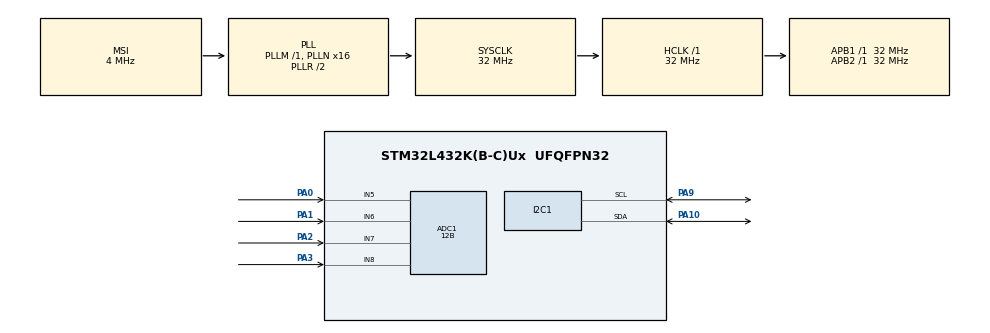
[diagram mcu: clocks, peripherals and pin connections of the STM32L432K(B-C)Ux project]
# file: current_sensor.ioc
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ADC1.Channel-10\#ChannelRegularConversion=ADC_CHANNEL_5
ADC1.Channel-11\#ChannelRegularConversion=ADC_CHANNEL_6
ADC1.Channel-12\#ChannelRegularConversion=ADC_CHANNEL_7
ADC1.Channel-13\#ChannelRegularConversion=ADC_CHANNEL_VREFINT
ADC1.ClockPrescaler=ADC_CLOCK_ASYNC_DIV1
ADC1.ContinuousConvMode=DISABLE
ADC1.DMAContinuousRequests=DISABLE
ADC1.DataAlign=ADC_DATAALIGN_RIGHT
ADC1.DiscontinuousConvMode=DISABLE
ADC1.EOCSelection=ADC_EOC_SINGLE_CONV
ADC1.EnableAnalogWatchDog1=false
ADC1.EnableAnalogWatchDog2=false
ADC1.EnableAnalogWatchDog3=false
ADC1.EnableInjectedConversion=DISABLE
ADC1.EnableRegularConversion=ENABLE
ADC1.ExternalTrigConv=ADC_SOFTWARE_START
ADC1.ExternalTrigConvEdge=ADC_EXTERNALTRIGCONVEDGE_NONE
ADC1.LowPowerAutoWait=DISABLE
ADC1.NbrOfConversion=4
ADC1.NbrOfConversionFlag=1
ADC1.OffsetNumber-10\#ChannelRegularConversion=ADC_OFFSET_NONE
ADC1.OffsetNumber-11\#ChannelRegularConversion=ADC_OFFSET_NONE
ADC1.OffsetNumber-12\#ChannelRegularConversion=ADC_OFFSET_NONE
ADC1.OffsetNumber-13\#ChannelRegularConversion=ADC_OFFSET_NONE
ADC1.Overrun=ADC_OVR_DATA_PRESERVED
ADC1.OversamplingMode=DISABLE
ADC1.Rank-10\#ChannelRegularConversion=1
ADC1.Rank-11\#ChannelRegularConversion=2
ADC1.Rank-12\#ChannelRegularConversion=3
ADC1.Rank-13\#ChannelRegularConversion=4
ADC1.Resolution=ADC_RESOLUTION_12B
ADC1.SamplingTime-10\#ChannelRegularConversion=ADC_SAMPLETIME_2CYCLES_5
ADC1.SamplingTime-11\#ChannelRegularConversion=ADC_SAMPLETIME_2CYCLES_5
ADC1.SamplingTime-12\#ChannelRegularConversion=ADC_SAMPLETIME_2CYCLES_5
ADC1.SamplingTime-13\#ChannelRegularConversion=ADC_SAMPLETIME_2CYCLES_5
ADC1.ScanConvMode=ADC_SCAN_ENABLE
ADC1.SingleDiff-12\#ChannelRegularConversion=ADC_DIFFERENTIAL_ENDED
ADC1.master=1
Dma.ADC1.0.Direction=DMA_PERIPH_TO_MEMORY
Dma.ADC1.0.Instance=DMA1_Channel1
Dma.ADC1.0.MemDataAlignment=DMA_MDATAALIGN_HALFWORD
Dma.ADC1.0.MemInc=DMA_MINC_ENABLE
Dma.ADC1.0.Mode=DMA_NORMAL
Dma.ADC1.0.PeriphDataAlignment=DMA_PDATAALIGN_HALFWORD
Dma.ADC1.0.PeriphInc=DMA_PINC_DISABLE
Dma.ADC1.0.Priority=DMA_PRIORITY_LOW
Dma.Request0=ADC1
I2C1.Timing=0x00707CBB
Mcu.Family=STM32L4
Mcu.Name=STM32L432K(B-C)Ux
Mcu.Package=UFQFPN32
NVIC.DMA1_Channel1_IRQn=true\:0\:0\:false\:false\:true\:false
NVIC.PriorityGroup=NVIC_PRIORITYGROUP_4
PA0.Signal=ADCx_IN5
PA1.Signal=ADCx_IN6
PA10.Mode=I2C
PA10.Signal=I2C1_SDA
PA13\ (JTMS-SWDIO).Mode=Serial_Wire
PA13\ (JTMS-SWDIO).Signal=SYS_JTMS-SWDIO
PA14\ (JTCK-SWCLK).Mode=Serial_Wire
PA14\ (JTCK-SWCLK).Signal=SYS_JTCK-SWCLK
PA2.Signal=ADCx_IN7
PA3.Signal=ADCx_IN8
PA9.Mode=I2C
PA9.Signal=I2C1_SCL
ProjectManager.HeapSize=0x200
ProjectManager.StackSize=0x400
ProjectManager.TargetToolchain=SW4STM32
RCC.ADCFreq_Value=32000000
RCC.AHBFreq_Value=32000000
RCC.APB1Freq_Value=32000000
RCC.APB1TimFreq_Value=32000000
RCC.APB2Freq_Value=32000000
RCC.APB2TimFreq_Value=32000000
RCC.CortexFreq_Value=32000000
RCC.HCLKFreq_Value=32000000
RCC.HSE_VALUE=8000000
RCC.HSI16_VALUE=16000000
RCC.HSI48_VALUE=48000000
RCC.HSI_VALUE=16000000
RCC.LSE_VALUE=32.768
RCC.MSI_VALUE=4000000
RCC.PLLMUL=RCC_PLLMUL_4
RCC.PLLN=16
RCC.PLLSAI1N=16
RCC.SYSCLKFreq_VALUE=32000000
RCC.SYSCLKSource=RCC_SYSCLKSOURCE_PLLCLK
RCC.USBFreq_Value=32000000
RCC.VCOOutputFreq_Value=64000000
SH.ADCx_IN5.0=ADC1_IN5,IN5-Single-Ended
SH.ADCx_IN6.0=ADC1_IN6,IN6-Single-Ended
SH.ADCx_IN7.0=ADC1_IN7,IN7-Differential
SH.ADCx_IN8.0=ADC1_IN8,IN7-Differential
VP_ADC1_Vref_Input.Mode=IN-Vrefint
board=NUCLEO-L432KC

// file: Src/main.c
/**
  ******************************************************************************
  * @file           : main.c
  * @brief          : Main program body
  ******************************************************************************
  ** This notice applies to any and all portions of this file
  * that are not between comment pairs USER CODE BEGIN and
  * USER CODE END. Other portions of this file, whether
  * inserted by the user or by software development tools
  * are owned by their respective copyright owners.
  *
  * COPYRIGHT(c) 2020 STMicroelectronics
  *
  * Redistribution and use in source and binary forms, with or without modification,
  * are permitted provided that the following conditions are met:
  *   1. Redistributions of source code must retain the above copyright notice,
  *      this list of conditions and the following disclaimer.
  *   2. Redistributions in binary form must reproduce the above copyright notice,
  *      this list of conditions and the following disclaimer in the documentation
  *      and/or other materials provided with the distribution.
  *   3. Neither the name of STMicroelectronics nor the names of its contributors
  *      may be used to endorse or promote products derived from this software
  *      without specific prior written permission.
  *
  * THIS SOFTWARE IS PROVIDED BY THE COPYRIGHT HOLDERS AND CONTRIBUTORS "AS IS"
  * AND ANY EXPRESS OR IMPLIED WARRANTIES, INCLUDING, BUT NOT LIMITED TO, THE
  * IMPLIED WARRANTIES OF MERCHANTABILITY AND FITNESS FOR A PARTICULAR PURPOSE ARE
  * DISCLAIMED. IN NO EVENT SHALL THE COPYRIGHT HOLDER OR CONTRIBUTORS BE LIABLE
  * FOR ANY DIRECT, INDIRECT, INCIDENTAL, SPECIAL, EXEMPLARY, OR CONSEQUENTIAL
  * DAMAGES (INCLUDING, BUT NOT LIMITED TO, PROCUREMENT OF SUBSTITUTE GOODS OR
  * SERVICES; LOSS OF USE, DATA, OR PROFITS; OR BUSINESS INTERRUPTION) HOWEVER
  * CAUSED AND ON ANY THEORY OF LIABILITY, WHETHER IN CONTRACT, STRICT LIABILITY,
  * OR TORT (INCLUDING NEGLIGENCE OR OTHERWISE) ARISING IN ANY WAY OUT OF THE USE
  * OF THIS SOFTWARE, EVEN IF ADVISED OF THE POSSIBILITY OF SUCH DAMAGE.
  *
  ******************************************************************************
  */
#include "main.h"
#include "stm32l4xx_hal.h"

/* USER CODE BEGIN Includes */
#include "I2C_lcd16x2.h"
#include "fft.h"
#include <math.h>
//#include "cnumbers.h"

#define PONTOS N

/* USER CODE END Includes */

ADC_HandleTypeDef hadc1;
DMA_HandleTypeDef hdma_adc1;

I2C_HandleTypeDef hi2c1;

/* USER CODE BEGIN PV */
/* Private variables ---------------------------------------------------------*/
uint8_t complete=0;

/* USER CODE END PV */

void SystemClock_Config(void);
static void MX_GPIO_Init(void);
static void MX_DMA_Init(void);
static void MX_I2C1_Init(void);
static void MX_ADC1_Init(void);

/* USER CODE BEGIN PFP */
/* Private function prototypes -----------------------------------------------*/

/* USER CODE END PFP */

/* USER CODE BEGIN 0 */
//extern void initialise_monitor_handles(void);

/* USER CODE END 0 */

int main(void)
{
  /* USER CODE BEGIN 1 */
	typedef struct
	{
		uint16_t value[4];
	}sample_group;

	char msg1[10], msg2[10], msg3[10];
	float tensao1=0, tensao2=0, distorcao=0, Vdd;
	float adc1[PONTOS], adc2[PONTOS], adc4[PONTOS];
	uint16_t *vrefint;
	complex *fourieradc1;
	sample_group sample[PONTOS];

	vrefint=(uint16_t*)0x1FFF75AA;

  /* USER CODE END 1 */

  /* MCU Configuration----------------------------------------------------------*/

  /* Reset of all peripherals, Initializes the Flash interface and the Systick. */
  HAL_Init();

  /* USER CODE BEGIN Init */
 // initialise_monitor_handles();

  /* USER CODE END Init */

  /* Configure the system clock */
  SystemClock_Config();

  /* Initialize all configured peripherals */
  MX_GPIO_Init();
  MX_DMA_Init();
  MX_I2C1_Init();
  MX_ADC1_Init();
  /* USER CODE BEGIN 2 */
  LCD1602_i2c_Init();
  //LCD1602_special_caracter_Init("ç", "ú", "á", "é", "í", "ã","õ","ô");
  LCD1602_noCursor();
  LCD1602_noBlink();

  /* USER CODE END 2 */

  /* Infinite loop */
  /* USER CODE BEGIN WHILE */
  while (1)
  {
	  tensao2=0;

	  /*Laço for responsável pela conversão analógico-digital na variável sample.valores*/
	  for(uint32_t i=0; i<PONTOS; i++)
	  {
		  HAL_ADC_Start_DMA(&hadc1, (uint32_t *)sample[i].value, 4);
		  /*for(uint32_t j=0; j<4; j++)
		  {
			  sample[4*i+j]=captura[j];
		  }*/
		  while(!complete);
		  complete=0;
	  }

	  /*Obtenção do maximo valor analógico do conversor analógico-digital. Serve como referência paras as conversões*/
	  Vdd=(float)3*(*vrefint)/sample[PONTOS-1].value[3];

	  /*Laços for responsáveis pela organização dos valores, do conversor analógico-digital, em vetores adcX e os converte para volts*/
	  for(uint32_t i=0; i<PONTOS; i++)
	  {
		  adc2[i]=Vdd*sample[i].value[1]/4095;
	  }
	  for(uint32_t i=0; i<PONTOS; i++)//Também retira o offset
	  {
		  adc1[i]=Vdd*sample[i].value[0]/4095-adc2[PONTOS-1];
	  }
	  for(uint32_t i=0; i<PONTOS; i++)
	  {
		  adc4[i]=Vdd*sample[i].value[3]/4095;
	  }

	  /*Calcula a transformada de fourier de tempo discreto do adc1*/
	  fourieradc1=fft(adc1);

	  /*Adequação, dos valores obtidos, para volts*/
	  /*
	  for(uint32_t i=1; i<PONTOS; i++)
	  {
		  if(adc1[i-1]==0 && adc1[i]!=0)
		  {
			  a=i;
		  }
		  else if(adc1[i-1]!=0 && adc1[i]==0)
		  {
			  b=i;
			  break;
		  }
	  }
	  */

	  tensao1=(fourieradc1+0)->mod;
	  for(uint8_t i=1; i<K; i++) //começa do 1 por que é apenas AC
	  {
		  tensao2=tensao2+pow((fourieradc1+i)->mod, 2);
	  }
	  tensao2=sqrt(tensao2);
	  distorcao=(fourieradc1+1)->mod/tensao2;

	  /*
	  for(uint32_t i=0; i<PONTOS; i++)
	  {
		  printf("%.2f\r", Vdd*adc1[i]/4095);
	  }
	  */

	  /*Exibição dos valores em tela de LCD*/
	  sprintf(msg1, "Im=%.1f", (tensao1/100/0.33)*1000);
	  sprintf(msg2, "Irms=%.1f", (tensao2/100/0.33)*1000);
	  sprintf(msg3, "Fd=%.2f", distorcao);
	  LCD1602_print(msg1);
	  LCD1602_setCursor(2, 1);
	  LCD1602_print(msg2);
	  LCD1602_setCursor(1, 9);
	  LCD1602_print(msg3);
	  LCD1602_setCursor(1, 1);

  /* USER CODE END WHILE */

  }

}

void SystemClock_Config(void)
{

  RCC_OscInitTypeDef RCC_OscInitStruct;
  RCC_ClkInitTypeDef RCC_ClkInitStruct;
  RCC_PeriphCLKInitTypeDef PeriphClkInit;

    /**Initializes the CPU, AHB and APB busses clocks
    */
  RCC_OscInitStruct.OscillatorType = RCC_OSCILLATORTYPE_MSI;
  RCC_OscInitStruct.MSIState = RCC_MSI_ON;
  RCC_OscInitStruct.MSICalibrationValue = 0;
  RCC_OscInitStruct.MSIClockRange = RCC_MSIRANGE_6;
  RCC_OscInitStruct.PLL.PLLState = RCC_PLL_ON;
  RCC_OscInitStruct.PLL.PLLSource = RCC_PLLSOURCE_MSI;
  RCC_OscInitStruct.PLL.PLLM = 1;
  RCC_OscInitStruct.PLL.PLLN = 16;
  RCC_OscInitStruct.PLL.PLLP = RCC_PLLP_DIV7;
  RCC_OscInitStruct.PLL.PLLQ = RCC_PLLQ_DIV2;
  RCC_OscInitStruct.PLL.PLLR = RCC_PLLR_DIV2;
  if (HAL_RCC_OscConfig(&RCC_OscInitStruct) != HAL_OK)
  {
    _Error_Handler(__FILE__, __LINE__);
  }

    /**Initializes the CPU, AHB and APB busses clocks
    */
  RCC_ClkInitStruct.ClockType = RCC_CLOCKTYPE_HCLK|RCC_CLOCKTYPE_SYSCLK
                              |RCC_CLOCKTYPE_PCLK1|RCC_CLOCKTYPE_PCLK2;
  RCC_ClkInitStruct.SYSCLKSource = RCC_SYSCLKSOURCE_PLLCLK;
  RCC_ClkInitStruct.AHBCLKDivider = RCC_SYSCLK_DIV1;
  RCC_ClkInitStruct.APB1CLKDivider = RCC_HCLK_DIV1;
  RCC_ClkInitStruct.APB2CLKDivider = RCC_HCLK_DIV1;

  if (HAL_RCC_ClockConfig(&RCC_ClkInitStruct, FLASH_LATENCY_1) != HAL_OK)
  {
    _Error_Handler(__FILE__, __LINE__);
  }

  PeriphClkInit.PeriphClockSelection = RCC_PERIPHCLK_I2C1|RCC_PERIPHCLK_ADC;
  PeriphClkInit.I2c1ClockSelection = RCC_I2C1CLKSOURCE_PCLK1;
  PeriphClkInit.AdcClockSelection = RCC_ADCCLKSOURCE_PLLSAI1;
  PeriphClkInit.PLLSAI1.PLLSAI1Source = RCC_PLLSOURCE_MSI;
  PeriphClkInit.PLLSAI1.PLLSAI1M = 1;
  PeriphClkInit.PLLSAI1.PLLSAI1N = 16;
  PeriphClkInit.PLLSAI1.PLLSAI1P = RCC_PLLP_DIV7;
  PeriphClkInit.PLLSAI1.PLLSAI1Q = RCC_PLLQ_DIV2;
  PeriphClkInit.PLLSAI1.PLLSAI1R = RCC_PLLR_DIV2;
  PeriphClkInit.PLLSAI1.PLLSAI1ClockOut = RCC_PLLSAI1_ADC1CLK;
  if (HAL_RCCEx_PeriphCLKConfig(&PeriphClkInit) != HAL_OK)
  {
    _Error_Handler(__FILE__, __LINE__);
  }

    /**Configure the main internal regulator output voltage
    */
  if (HAL_PWREx_ControlVoltageScaling(PWR_REGULATOR_VOLTAGE_SCALE1) != HAL_OK)
  {
    _Error_Handler(__FILE__, __LINE__);
  }

    /**Configure the Systick interrupt time
    */
  HAL_SYSTICK_Config(HAL_RCC_GetHCLKFreq()/1000);

    /**Configure the Systick
    */
  HAL_SYSTICK_CLKSourceConfig(SYSTICK_CLKSOURCE_HCLK);

  /* SysTick_IRQn interrupt configuration */
  HAL_NVIC_SetPriority(SysTick_IRQn, 0, 0);
}

/* ADC1 init function */
static void MX_ADC1_Init(void)
{

  ADC_ChannelConfTypeDef sConfig;

    /**Common config
    */
  hadc1.Instance = ADC1;
  hadc1.Init.ClockPrescaler = ADC_CLOCK_ASYNC_DIV1;
  hadc1.Init.Resolution = ADC_RESOLUTION_12B;
  hadc1.Init.DataAlign = ADC_DATAALIGN_RIGHT;
  hadc1.Init.ScanConvMode = ADC_SCAN_ENABLE;
  hadc1.Init.EOCSelection = ADC_EOC_SINGLE_CONV;
  hadc1.Init.LowPowerAutoWait = DISABLE;
  hadc1.Init.ContinuousConvMode = DISABLE;
  hadc1.Init.NbrOfConversion = 4;
  hadc1.Init.DiscontinuousConvMode = DISABLE;
  hadc1.Init.ExternalTrigConv = ADC_SOFTWARE_START;
  hadc1.Init.ExternalTrigConvEdge = ADC_EXTERNALTRIGCONVEDGE_NONE;
  hadc1.Init.DMAContinuousRequests = DISABLE;
  hadc1.Init.Overrun = ADC_OVR_DATA_PRESERVED;
  hadc1.Init.OversamplingMode = DISABLE;
  if (HAL_ADC_Init(&hadc1) != HAL_OK)
  {
    _Error_Handler(__FILE__, __LINE__);
  }

    /**Configure Regular Channel
    */
  sConfig.Channel = ADC_CHANNEL_5;
  sConfig.Rank = ADC_REGULAR_RANK_1;
  sConfig.SamplingTime = ADC_SAMPLETIME_92CYCLES_5;//ADC_SAMPLETIME_2CYCLES_5;
  sConfig.SingleDiff = ADC_SINGLE_ENDED;
  sConfig.OffsetNumber = ADC_OFFSET_NONE;
  sConfig.Offset = 0;
  if (HAL_ADC_ConfigChannel(&hadc1, &sConfig) != HAL_OK)
  {
    _Error_Handler(__FILE__, __LINE__);
  }

    /**Configure Regular Channel
    */
  sConfig.Channel = ADC_CHANNEL_6;
  sConfig.Rank = ADC_REGULAR_RANK_2;
  if (HAL_ADC_ConfigChannel(&hadc1, &sConfig) != HAL_OK)
  {
    _Error_Handler(__FILE__, __LINE__);
  }

    /**Configure Regular Channel
    */
  sConfig.Channel = ADC_CHANNEL_7;
  sConfig.Rank = ADC_REGULAR_RANK_3;
  sConfig.SingleDiff = ADC_DIFFERENTIAL_ENDED;
  if (HAL_ADC_ConfigChannel(&hadc1, &sConfig) != HAL_OK)
  {
    _Error_Handler(__FILE__, __LINE__);
  }

    /**Configure Regular Channel
    */
  sConfig.Channel = ADC_CHANNEL_VREFINT;
  sConfig.Rank = ADC_REGULAR_RANK_4;
  sConfig.SingleDiff = ADC_SINGLE_ENDED;
  if (HAL_ADC_ConfigChannel(&hadc1, &sConfig) != HAL_OK)
  {
    _Error_Handler(__FILE__, __LINE__);
  }

}

/* I2C1 init function */
static void MX_I2C1_Init(void)
{

  hi2c1.Instance = I2C1;
  hi2c1.Init.Timing = 0x00707CBB;
  hi2c1.Init.OwnAddress1 = 0;
  hi2c1.Init.AddressingMode = I2C_ADDRESSINGMODE_7BIT;
  hi2c1.Init.DualAddressMode = I2C_DUALADDRESS_DISABLE;
  hi2c1.Init.OwnAddress2 = 0;
  hi2c1.Init.OwnAddress2Masks = I2C_OA2_NOMASK;
  hi2c1.Init.GeneralCallMode = I2C_GENERALCALL_DISABLE;
  hi2c1.Init.NoStretchMode = I2C_NOSTRETCH_DISABLE;
  if (HAL_I2C_Init(&hi2c1) != HAL_OK)
  {
    _Error_Handler(__FILE__, __LINE__);
  }

    /**Configure Analogue filter
    */
  if (HAL_I2CEx_ConfigAnalogFilter(&hi2c1, I2C_ANALOGFILTER_ENABLE) != HAL_OK)
  {
    _Error_Handler(__FILE__, __LINE__);
  }

    /**Configure Digital filter
    */
  if (HAL_I2CEx_ConfigDigitalFilter(&hi2c1, 0) != HAL_OK)
  {
    _Error_Handler(__FILE__, __LINE__);
  }

}

static void MX_DMA_Init(void)
{
  /* DMA controller clock enable */
  __HAL_RCC_DMA1_CLK_ENABLE();

  /* DMA interrupt init */
  /* DMA1_Channel1_IRQn interrupt configuration */
  HAL_NVIC_SetPriority(DMA1_Channel1_IRQn, 0, 0);
  HAL_NVIC_EnableIRQ(DMA1_Channel1_IRQn);

}

/** Configure pins as
        * Analog
        * Input
        * Output
        * EVENT_OUT
        * EXTI
        * Free pins are configured automatically as Analog (this feature is enabled through
        * the Code Generation settings)
*/
static void MX_GPIO_Init(void)
{

  GPIO_InitTypeDef GPIO_InitStruct;

  /* GPIO Ports Clock Enable */
  __HAL_RCC_GPIOC_CLK_ENABLE();
  __HAL_RCC_GPIOA_CLK_ENABLE();
  __HAL_RCC_GPIOB_CLK_ENABLE();
  __HAL_RCC_GPIOH_CLK_ENABLE();

  /*Configure GPIO pins : PC14 PC15 */
  GPIO_InitStruct.Pin = GPIO_PIN_14|GPIO_PIN_15;
  GPIO_InitStruct.Mode = GPIO_MODE_ANALOG;
  GPIO_InitStruct.Pull = GPIO_NOPULL;
  HAL_GPIO_Init(GPIOC, &GPIO_InitStruct);

  /*Configure GPIO pins : PA4 PA5 PA6 PA7
                           PA8 PA11 PA12 PA15 */
  GPIO_InitStruct.Pin = GPIO_PIN_4|GPIO_PIN_5|GPIO_PIN_6|GPIO_PIN_7
                          |GPIO_PIN_8|GPIO_PIN_11|GPIO_PIN_12|GPIO_PIN_15;
  GPIO_InitStruct.Mode = GPIO_MODE_ANALOG;
  GPIO_InitStruct.Pull = GPIO_NOPULL;
  HAL_GPIO_Init(GPIOA, &GPIO_InitStruct);

  /*Configure GPIO pins : PB0 PB1 PB3 PB4
                           PB5 PB6 PB7 */
  GPIO_InitStruct.Pin = GPIO_PIN_0|GPIO_PIN_1|GPIO_PIN_3|GPIO_PIN_4
                          |GPIO_PIN_5|GPIO_PIN_6|GPIO_PIN_7;
  GPIO_InitStruct.Mode = GPIO_MODE_ANALOG;
  GPIO_InitStruct.Pull = GPIO_NOPULL;
  HAL_GPIO_Init(GPIOB, &GPIO_InitStruct);

  /*Configure GPIO pin : PH3 */
  GPIO_InitStruct.Pin = GPIO_PIN_3;
  GPIO_InitStruct.Mode = GPIO_MODE_ANALOG;
  GPIO_InitStruct.Pull = GPIO_NOPULL;
  HAL_GPIO_Init(GPIOH, &GPIO_InitStruct);

}

/* USER CODE BEGIN 4 */

void HAL_ADC_ConvCpltCallback(ADC_HandleTypeDef* hadc) {
	complete = 1;
}

void HAL_ADC_ErrorCallback(ADC_HandleTypeDef* hadc)
{
	complete=2;
}

/* USER CODE END 4 */

void _Error_Handler(char *file, int line)
{
  while(1)
  {
  }
}

/************************ (C) COPYRIGHT STMicroelectronics *****END OF FILE****/
